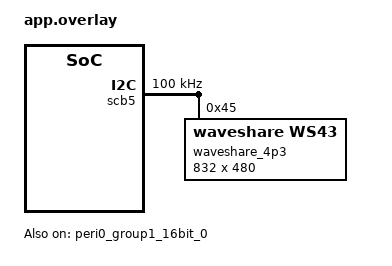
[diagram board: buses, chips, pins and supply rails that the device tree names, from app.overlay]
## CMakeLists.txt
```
cmake_minimum_required(VERSION 3.20.0)
find_package(Zephyr REQUIRED HINTS $ENV{ZEPHYR_BASE})
project(psoc_e84_lvgl_waveshare_4_3)

set(IFX_PDL ${ZEPHYR_HAL_INFINEON_MODULE_DIR}/mtb-dsl-pse8xxgp/pdl)
set(IFX_GFX ${IFX_PDL}/drivers/third_party/COMPONENT_GFXSS)

target_sources(app PRIVATE
  src/main.c
  src/waveshare_4p3_display.c
  ${IFX_PDL}/drivers/source/cy_mipidsi.c
  ${IFX_GFX}/cy_graphics.c
  ${IFX_GFX}/vsi/dcnano8000/DCUser/rtos/viv_dc_interface.c
  ${IFX_GFX}/vsi/dcnano8000/DCUser/rtos/viv_dc_os.c
  ${IFX_GFX}/vsi/dcnano8000/DCUser/viv_dc_setting.c
  ${IFX_GFX}/vsi/dcnano8000/DCUser/viv_dc_tools.c
  ${IFX_GFX}/vsi/dcnano8000/DCUser/viv_dc_util.c
  ${IFX_GFX}/vsi/dcnano8000/DCKernel/rtos/viv_dc_platform.c
  ${IFX_GFX}/vsi/dcnano8000/DCKernel/hardware/8000Nano/viv_dc_hardware.c
  ${IFX_GFX}/vsi/dcnano8000/DCKernel/viv_dc_core.c
  ${IFX_GFX}/vsi/dcnano8000/DCKernel/viv_dc_database.c
	${IFX_GFX}/vsi/dcnano8000/DCKernel/dc_layer_feature.c
  ${IFX_GFX}/vsi/dcnano8000/DCKernel/viv_dc_lcd.c
  ${IFX_GFX}/vsi/dcnano8000/DCKernel/viv_dc_shell.c)

zephyr_include_directories(
  ${IFX_PDL}/devices/include
  ${IFX_PDL}/devices/include/ip
  ${IFX_PDL}/drivers/include
  ${IFX_GFX}
  ${IFX_GFX}/vsi/dcnano8000/include
  ${IFX_GFX}/vsi/dcnano8000/DCKernel
  ${IFX_GFX}/vsi/dcnano8000/DCKernel/hardware/8000Nano
  ${IFX_GFX}/vsi/dcnano8000/DCKernel/rtos
  ${IFX_GFX}/vsi/dcnano8000/DCUser
  ${IFX_GFX}/vsi/dcnano8000/DCUser/rtos)

# The standalone PDL graphics sources are normally selected by ModusToolbox.
# Give them the same PSoC Edge device identity when Zephyr compiles them.
target_compile_definitions(app PRIVATE
  PSE846GPS2DBZC4A COMPONENT_55500 COMPONENT_55500A1 COMPONENT_CM55
  COMPONENT_CM55_0 COMPONENT_GFXSS COMPONENT_NON_SECURE_DEVICE _BAREMETAL=0)
target_compile_options(app PRIVATE -include cy_pdl.h)
```

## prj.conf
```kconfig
CONFIG_CONSOLE=y
CONFIG_UART_CONSOLE=y
CONFIG_PRINTK=y
CONFIG_I2C=y
CONFIG_DISPLAY=y
CONFIG_LVGL=y
CONFIG_LV_Z_AUTO_INIT=n
# Zephyr's LVGL allocator is separate from the kernel heap and LV_MEM_SIZE.
CONFIG_LV_Z_MEM_POOL_SIZE=65536
CONFIG_ASSERT=y
CONFIG_LV_COLOR_DEPTH_16=y
CONFIG_LV_Z_BUFFER_ALLOC_STATIC=y
CONFIG_LV_Z_VDB_ZEPHYR_REGION=y
CONFIG_LV_Z_VDB_ZEPHYR_REGION_NAME="GFX_MEM"
CONFIG_LV_Z_VDB_SIZE=100
CONFIG_LV_Z_FULL_REFRESH=y
CONFIG_LV_Z_VDB_ALIGN=128
CONFIG_LV_Z_DOUBLE_VDB=y
CONFIG_HEAP_MEM_POOL_SIZE=16384
CONFIG_MAIN_STACK_SIZE=4096
CONFIG_CRC=y
CONFIG_LV_FONT_MONTSERRAT_28=y
```

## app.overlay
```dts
/ {
	chosen {
		zephyr,display = &waveshare_4p3;
	};

	reserved-memory {
		#address-cells = <1>;
		#size-cells = <1>;
		ranges;

		gfx_mem: memory@26200000 {
			compatible = "zephyr,memory-region", "mmio-sram";
			zephyr,memory-region = "GFX_MEM";
			reg = <0x26200000 0x00300000>;
		};
	};
};

&p17_0_scb5_i2c_scl {
	drive-open-drain;
	input-enable;
};

&p17_1_scb5_i2c_sda {
	drive-open-drain;
	input-enable;
};

&peri0_group1_16bit_0 {
	status = "okay";
	clock-div = <32>;
};

&scb5 {
	compatible = "infineon,i2c";
	status = "okay";
	clocks = <&peri0_group1_16bit_0>;
	clock-frequency = <100000>;
	pinctrl-0 = <&p17_0_scb5_i2c_scl &p17_1_scb5_i2c_sda>;
	pinctrl-names = "default";
	#address-cells = <1>;
	#size-cells = <0>;

	waveshare_4p3: display@45 {
		compatible = "waveshare,ws43";
		reg = <0x45>;
		width = <832>;
		height = <480>;
		status = "okay";
	};
};
```

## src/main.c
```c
#include <zephyr/kernel.h>
#include <zephyr/init.h>
#include <cy_sysclk.h>
#include <zephyr/drivers/display.h>
#include <zephyr/drivers/uart.h>
#include <lvgl.h>
#include <lvgl_zephyr.h>
#include <stdio.h>
#include <string.h>
#include "waveshare_4p3_display.h"

static int display_clock_metadata_init(void)
{
	/* PDL keeps this frequency in each core's own RAM. Set the board's
	 * crystal frequency before peripheral drivers query an ECO-fed PLL. */
	Cy_SysClk_EcoSetFrequency(17203200U);
	return 0;
}
SYS_INIT(display_clock_metadata_init, PRE_KERNEL_1, 0);

static const struct device *display = DEVICE_DT_GET(DT_CHOSEN(zephyr_display));
static const char demo_text[] = "TESA AIoT E84\nWaveshare 4.3 RPi DSI\nLVGL / Zephyr";

static int report_status(const char *token)
{
	struct waveshare_status status;
	int ret = waveshare_get_status(display, &status);
	printk("%s DISPLAY STATUS token=%s panel=0x%02x clock=%u frames=%u flushes=%u "
	       "fb=0x%08x crc=0x%08x phy=0x%x dc=0x%x dsi0=0x%x dsi1=0x%x ret=%d\n",
	       ret == 0 ? "OK" : "FAIL", token, status.panel_id, status.clock_hz,
	       status.frames, status.flushes, status.framebuffer, status.crc,
	       status.phy, status.dc_errors, status.dsi_errors0, status.dsi_errors1, ret);
	return ret;
}

static void handle_command(char *line, lv_obj_t *label)
{
	char command[16], token[40], extra;
	if (sscanf(line, "display %15s %39s %c", command, token, &extra) != 2) {
		printk("FAIL DISPLAY COMMAND expected='display info|test|demo TOKEN'\n");
		return;
	}
	if (strcmp(command, "test") == 0) {
		lv_label_set_text_fmt(label, "TESA AIoT E84\nDisplay test\n%s", token);
	} else if (strcmp(command, "demo") == 0) {
		lv_label_set_text(label, demo_text);
	} else if (strcmp(command, "info") == 0) {
		(void)report_status(token);
		return;
	} else {
		printk("FAIL DISPLAY COMMAND token=%s\n", token);
		return;
	}
	lv_obj_invalidate(lv_screen_active());
	lv_refr_now(NULL);
	(void)report_status(token);
}

int main(void)
{
	const struct device *uart = DEVICE_DT_GET(DT_CHOSEN(zephyr_console));

	if (!device_is_ready(display)) {
		printk("FAIL DISPLAY device_not_ready\n");
		return 0;
	}
	int ret = lvgl_init();
	if (ret != 0 || lv_display_get_default() == NULL || lv_screen_active() == NULL) {
		printk("FAIL DISPLAY LVGL_INIT ret=%d\n", ret);
		return 0;
	}
	printk("OK DISPLAY LVGL_INIT heap=%u\n", CONFIG_LV_Z_MEM_POOL_SIZE);

	lv_obj_t *screen = lv_screen_active();
	lv_obj_set_style_bg_color(screen, lv_color_hex(0x102238), 0);
	lv_obj_t *label = lv_label_create(screen);
	if (label == NULL) {
		printk("FAIL DISPLAY LVGL_LABEL\n");
		return 0;
	}
	lv_label_set_text(label, demo_text);
	lv_obj_set_width(label, 800);
	lv_obj_set_style_text_align(label, LV_TEXT_ALIGN_CENTER, 0);
	lv_obj_set_style_text_color(label, lv_color_white(), 0);
	lv_obj_set_style_text_font(label, &lv_font_montserrat_28, 0);
	/* The rightmost 32 pixels of the 832-pixel timing are not visible. */
	lv_obj_align(label, LV_ALIGN_LEFT_MID, 0, 0);

	/* Submit the first rendered LVGL frame immediately. */
	lv_refr_now(NULL);
	ret = display_blanking_off(display);
	if (ret != 0) {
		printk("FAIL DISPLAY BACKLIGHT ret=%d\n", ret);
		return 0;
	}
	if (report_status("boot") == 0) {
		printk("OK DISPLAY INITIALIZATION_SUCCESS lvgl_frame_presented=1\n");
	}
	/* Keep diagnostics available even if the display health check failed. */
	printk("INFO DISPLAY COMMANDS display info|test|demo TOKEN\n");
	char line[96];
	size_t used = 0;
	bool overflow = false;
	while (true) {
		unsigned char ch;
		while (uart_poll_in(uart, &ch) == 0) {
			if (ch == '\r' || ch == '\n') {
				if (overflow) {
					printk("FAIL DISPLAY COMMAND too_long\n");
				} else if (used > 0) {
					line[used] = '\0';
					handle_command(line, label);
				}
				used = 0;
				overflow = false;
			} else if (used < sizeof(line) - 1) {
				line[used++] = ch;
			} else {
				overflow = true;
			}
		}
		lv_timer_handler();
		k_msleep(10);
	}
}
```

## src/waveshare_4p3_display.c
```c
#define DT_DRV_COMPAT waveshare_ws43

#include <zephyr/device.h>
#include <zephyr/cache.h>
#include <zephyr/drivers/display.h>
#include <zephyr/drivers/i2c.h>
#include <zephyr/irq.h>
#include <zephyr/kernel.h>
#include <zephyr/logging/log.h>
#include <zephyr/sys/crc.h>
#include "waveshare_4p3_display.h"

#include <cy_graphics.h>
#include <cy_sysclk.h>

LOG_MODULE_REGISTER(waveshare_4p3, LOG_LEVEL_INF);

#define PANEL_ID_REG 0x80U
#define PANEL_CTRL_REG 0x85U
#define PANEL_POWER_REG 0x81U
#define PANEL_BRIGHTNESS_REG 0x86U
#define PANEL_ID_A 0xC3U
#define PANEL_ID_B 0xDEU
#define STRIDE_PIXELS 832U
#define FRAMEBUFFER_PIXELS (STRIDE_PIXELS * 480U)

struct waveshare_config {
	struct i2c_dt_spec i2c;
};

struct waveshare_data {
	cy_stc_gfx_context_t gfx_context;
	bool ready;
	uint32_t flush_count;
	volatile uint32_t frame_count;
	volatile uint32_t dc_errors;
	uint32_t dsi_errors0;
	uint32_t dsi_errors1;
	const void *last_buffer;
	int last_error;
};

static struct waveshare_data waveshare_data;
static K_SEM_DEFINE(frame_done, 0, 2);

/*
 * The display controller raises this at the end of every scan-out.
 * Count actual frame completion, not reset/error interrupts, and wake the
 * thread waiting for a buffer swap. GCREGDISPLAYINTR is clear-on-read.
 */
static void waveshare_dc_irq_handler(const void *arg)
{
	ARG_UNUSED(arg);
	uint32_t status = GFXSS->GFXSS_DC.DCNANO.GCREGDISPLAYINTR;
	GFXSS->GFXSS_DC.MXDC.INTR = GFXSS->GFXSS_DC.MXDC.INTR;
	waveshare_data.dc_errors |= status & 0xA0001000U;
	if ((status & 1U) != 0U) {
		waveshare_data.frame_count++;
		k_sem_give(&frame_done);
	}
}

/*
 * A startup pattern is deliberately kept separate from the LVGL buffers.
 * It makes the DSI path observable before LVGL's first refresh and matches
 * the vendor example requirement that GFXSS starts with a valid buffer.
 */
static uint16_t startup_frame[FRAMEBUFFER_PIXELS]
	__attribute__((section("GFX_MEM"), aligned(128)));

static cy_stc_gfx_layer_config_t graphics_layer = {
	.layer_type = GFX_LAYER_GRAPHICS,
	.pos_x = 0,
	.pos_y = 0,
	.input_format_type = vivRGB565,
	.tiling_type = vivLINEAR,
	.width = STRIDE_PIXELS,
	.height = 480U,
	.zorder = 0,
	.layer_enable = true,
	.visibility = true,
};
static cy_stc_gfx_layer_config_t overlay0_layer = {
	.layer_type = GFX_LAYER_OVERLAY0,
	.input_format_type = vivRGB565,
	.tiling_type = vivLINEAR,
	.width = 1U,
	.height = 1U,
	.layer_enable = false,
	.visibility = false,
};
static cy_stc_gfx_layer_config_t overlay1_layer = {
	.layer_type = GFX_LAYER_OVERLAY1,
	.input_format_type = vivRGB565,
	.tiling_type = vivLINEAR,
	.width = 1U,
	.height = 1U,
	.layer_enable = false,
	.visibility = false,
};
static cy_stc_gfx_dc_config_t dc_config = {
	.gfx_layer_config = &graphics_layer,
	.ovl0_layer_config = &overlay0_layer,
	.ovl1_layer_config = &overlay1_layer,
	.display_type = GFX_DISP_TYPE_DSI_DPI,
	.display_format = vivD24,
	.display_size = vivDISPLAY_CUSTOMIZED,
	.display_width = STRIDE_PIXELS,
	.display_height = 480U,
};
static cy_stc_gfx_gpu_cfg_t gpu_config = { .enable = true };
static cy_stc_mipidsi_display_params_t dsi_params = {
	.pixel_clock = 33768U,
	.hdisplay = STRIDE_PIXELS,
	.hsync_width = 10U,
	.hfp = 210U,
	.hbp = 20U,
	.vdisplay = 480U,
	.vsync_width = 5U,
	.vfp = 20U,
	.vbp = 20U,
};
static cy_stc_mipidsi_config_t dsi_config = {
	.num_of_lanes = 1U,
	.per_lane_mbps = 810U,
	.dpi_fmt = CY_MIPIDSI_FMT_RGB888,
	.dsi_mode = DSI_VIDEO_MODE,
	.max_phy_clk = 2500000000UL,
	.mode_flags = VID_MODE_TYPE_BURST | ENABLE_LOW_POWER_CMD | ENABLE_LOW_POWER,
	.display_params = &dsi_params,
};
static cy_stc_gfx_config_t gfx_config = {
	.dc_cfg = &dc_config,
	.gpu_cfg = &gpu_config,
	.mipi_dsi_cfg = &dsi_config,
	.display_update_type = GFX_DOUBLE_BUFFER,
	.clockHz = 399999999U,
};

static int panel_write(const struct i2c_dt_spec *i2c, uint8_t reg, uint8_t value)
{
	uint8_t data[] = { reg, value };
	return i2c_write_dt(i2c, data, sizeof(data));
}

static int panel_read(const struct i2c_dt_spec *i2c, uint8_t reg, uint8_t *value)
{
	int ret = i2c_write_dt(i2c, &reg, sizeof(reg));
	if (ret != 0) return ret;
	return i2c_read_dt(i2c, value, sizeof(*value));
}

static int panel_init(const struct i2c_dt_spec *i2c)
{
	uint8_t reg = PANEL_ID_REG;
	uint8_t id = 0U;
	int ret;

	k_msleep(100);
	ret = i2c_write_dt(i2c, &reg, sizeof(reg));
	if (ret != 0) return ret;
	ret = i2c_read_dt(i2c, &id, sizeof(id));
	if (ret != 0) return ret;
	if (id != PANEL_ID_A && id != PANEL_ID_B) return -ENODEV;
	printk("OK DISPLAY MODULE_I2C_OK panel_id=0x%02x\n", id);

	ret = panel_write(i2c, PANEL_CTRL_REG, 0U);
	if (ret != 0) return ret;
	k_msleep(100);
	ret = panel_write(i2c, PANEL_CTRL_REG, 1U);
	if (ret != 0) return ret;
	k_msleep(100);
	ret = panel_write(i2c, PANEL_POWER_REG, 4U);
	if (ret != 0) return ret;
	k_msleep(100);
	ret = panel_write(i2c, PANEL_BRIGHTNESS_REG, 255U);
	if (ret != 0) return ret;
	k_msleep(100);
	return 0;
}

static int present_frame(struct waveshare_data *data, const void *buf)
{
	int ret = sys_cache_data_flush_range((void *)buf, sizeof(startup_frame));
	if (ret != 0) return ret;
	unsigned int key = irq_lock();
	k_sem_reset(&frame_done);
	Cy_GFXSS_Clear_DC_Interrupt(GFXSS, &data->gfx_context);
	cy_en_gfx_status_t result = Cy_GFXSS_Set_FrameBuffer(
		GFXSS, (uint32_t *)buf, &data->gfx_context);
	irq_unlock(key);
	if (result != CY_GFX_SUCCESS) return -EIO;
	/* The first boundary latches the new address; wait another frame before
	 * LVGL can reuse the old buffer. Both waits have a bounded timeout.
	 */
	for (int i = 0; i < 2; i++) {
		if (k_sem_take(&frame_done, K_MSEC(100)) != 0) return -ETIMEDOUT;
	}
	if (GFXSS->GFXSS_DC.DCNANO.GCREGFRAMEBUFFERADDRESS != (uint32_t)buf) {
		return -EIO;
	}
	data->last_buffer = buf;
	return 0;
}

static void startup_frame_fill(void)
{
	for (uint32_t y = 0U; y < 480U; ++y) {
		for (uint32_t x = 0U; x < STRIDE_PIXELS; ++x) {
			/* Four highly visible RGB565 bars, with a white border. */
			uint16_t color = (x < 208U) ? 0xF800U :
					 (x < 416U) ? 0x07E0U :
					 (x < 624U) ? 0x001FU : 0xFFE0U;
			if (x < 8U || x >= (STRIDE_PIXELS - 8U) || y < 8U || y >= 472U) {
				color = 0xFFFFU;
			}
			startup_frame[y * STRIDE_PIXELS + x] = color;
		}
	}
}

static int waveshare_write(const struct device *dev, uint16_t x, uint16_t y,
			   const struct display_buffer_descriptor *desc, const void *buf)
{
	struct waveshare_data *data = dev->data;

	if (!data->ready || buf == NULL || x != 0U || y != 0U ||
	    desc->width != STRIDE_PIXELS || desc->height != 480U ||
	    desc->pitch != STRIDE_PIXELS || desc->buf_size < sizeof(startup_frame) ||
	    ((uintptr_t)buf % 128U) != 0U) {
		printk("FAIL DISPLAY LVGL_WRITE x=%u y=%u width=%u height=%u\n",
		       x, y, desc->width, desc->height);
		data->last_error = -EINVAL;
		return data->last_error;
	}
	data->last_error = present_frame(data, buf);
	if (data->last_error != 0) {
		printk("FAIL DISPLAY PRESENT ret=%d\n", data->last_error);
		return data->last_error;
	}
	data->flush_count++;
	if (data->flush_count == 1U) {
		printk("OK DISPLAY LVGL_FLUSH=1\n");
	}
	return 0;
}

static void waveshare_capabilities(const struct device *dev, struct display_capabilities *caps)
{
	ARG_UNUSED(dev);
	*caps = (struct display_capabilities) {
		.x_resolution = STRIDE_PIXELS,
		.y_resolution = 480U,
		.supported_pixel_formats = PIXEL_FORMAT_RGB_565,
		.current_pixel_format = PIXEL_FORMAT_RGB_565,
		.current_orientation = DISPLAY_ORIENTATION_NORMAL,
	};
}

static int waveshare_brightness(const struct device *dev, uint8_t brightness)
{
	const struct waveshare_config *config = dev->config;
	/* Zephyr's brightness API is 0..255, not a percentage. */
	return panel_write(&config->i2c, PANEL_BRIGHTNESS_REG, brightness);
}

static int waveshare_blanking_off(const struct device *dev)
{
	return waveshare_brightness(dev, UINT8_MAX);
}

static int waveshare_blanking_on(const struct device *dev)
{
	return waveshare_brightness(dev, 0);
}

int waveshare_get_status(const struct device *dev, struct waveshare_status *status)
{
	struct waveshare_data *data = dev->data;
	const struct waveshare_config *config = dev->config;
	*status = (struct waveshare_status){0};
	int ret = panel_read(&config->i2c, PANEL_ID_REG, &status->panel_id);
	if (ret != 0) return ret;
	data->dsi_errors0 |= GFXSS->GFXSS_MIPIDSI.DWCMIPIDSI.INT_ST0;
	data->dsi_errors1 |= GFXSS->GFXSS_MIPIDSI.DWCMIPIDSI.INT_ST1;
	status->frames = data->frame_count;
	status->flushes = data->flush_count;
	status->dc_errors = data->dc_errors;
	status->dsi_errors0 = data->dsi_errors0;
	status->dsi_errors1 = data->dsi_errors1;
	status->phy = GFXSS->GFXSS_MIPIDSI.DWCMIPIDSI.PHY_STATUS;
	status->clock_hz = Cy_SysClk_ClkHfGetFrequency(CY_MMIO_GFXSS_DC_CLK_HF_NR) /
		(Cy_SysClk_PeriGroupGetDivider(PERI_1_GROUP_3) + 1U);
	status->framebuffer = GFXSS->GFXSS_DC.DCNANO.GCREGFRAMEBUFFERADDRESS;
	status->last_error = data->last_error;
	if (data->last_buffer != NULL) {
		status->crc = crc32_ieee(data->last_buffer, sizeof(startup_frame));
	}
	if (!data->ready || data->last_error != 0 || status->frames < 2 ||
	    status->flushes == 0 || status->dc_errors != 0 ||
	    status->dsi_errors0 != 0 || status->dsi_errors1 != 0 ||
	    (status->phy & 1U) == 0 ||
	    (status->clock_hz != 99999999U && status->clock_hz != 100000000U) ||
	    status->framebuffer != (uint32_t)data->last_buffer ||
	    (status->panel_id != PANEL_ID_A && status->panel_id != PANEL_ID_B)) {
		return -EIO;
	}
	return 0;
}

static int waveshare_init(const struct device *dev)
{
	const struct waveshare_config *config = dev->config;
	struct waveshare_data *data = dev->data;
	cy_en_gfx_status_t status;
	int ret;

	if (!i2c_is_ready_dt(&config->i2c)) return -ENODEV;
	/* GFXSS uses the 400 MHz HF1 parent, but its peripheral/DSI reference
	 * clock must be 100 MHz, as in the vendor BSP's peripheral clocks.
	 * PeriGroupSlaveInit only releases reset/enables the IP; it does not
	 * configure this divider (the register stores divisor minus one).
	 */
	if (Cy_SysClk_PeriGroupSetDivider(PERI_1_GROUP_3, 3U) != CY_SYSCLK_SUCCESS) {
		return -EIO;
	}
	printk("INFO DISPLAY CLOCK dc=%u dsi=%u gpu=%u\n",
	       Cy_SysClk_ClkHfGetFrequency(CY_MMIO_GFXSS_DC_CLK_HF_NR),
	       Cy_SysClk_ClkHfGetFrequency(CY_MMIO_GFXSS_MIPIDSI_CLK_HF_NR),
	       Cy_SysClk_ClkHfGetFrequency(CY_MMIO_GFXSS_GPU_CLK_HF_NR));
	/*
	 * GFXSS is a separately clock-gated peripheral group on PSE84.  The
	 * generated ModusToolbox project enables these three slaves before the
	 * display stack touches their registers; Zephyr has no GFXSS clock
	 * binding yet, so do that equivalent setup in this custom driver.
	 */
	Cy_SysClk_PeriGroupSlaveInit(CY_MMIO_GFXSS_GPU_PERI_NR,
				    CY_MMIO_GFXSS_GPU_GROUP_NR,
				    CY_MMIO_GFXSS_GPU_SLAVE_NR,
				    CY_MMIO_GFXSS_GPU_CLK_HF_NR);
	Cy_SysClk_PeriGroupSlaveInit(CY_MMIO_GFXSS_DC_PERI_NR,
				    CY_MMIO_GFXSS_DC_GROUP_NR,
				    CY_MMIO_GFXSS_DC_SLAVE_NR,
				    CY_MMIO_GFXSS_DC_CLK_HF_NR);
	Cy_SysClk_PeriGroupSlaveInit(CY_MMIO_GFXSS_MIPIDSI_PERI_NR,
				    CY_MMIO_GFXSS_MIPIDSI_GROUP_NR,
				    CY_MMIO_GFXSS_MIPIDSI_SLAVE_NR,
				    CY_MMIO_GFXSS_MIPIDSI_CLK_HF_NR);
	startup_frame_fill();
	sys_cache_data_flush_range(startup_frame, sizeof(startup_frame));
	graphics_layer.buffer_address = (gctADDRESS *)startup_frame;
	graphics_layer.uv_buffer_address = (gctADDRESS *)startup_frame;
	status = Cy_GFXSS_Init(GFXSS, &gfx_config, &data->gfx_context);
	if (status != CY_GFX_SUCCESS) return -EIO;
	Cy_GFXSS_Clear_DC_Interrupt(GFXSS, &data->gfx_context);
	IRQ_CONNECT(gfxss_interrupt_dc_IRQn, 3, waveshare_dc_irq_handler, NULL, 0);
	irq_enable(gfxss_interrupt_dc_IRQn);
	printk("OK DISPLAY MODULE_GFXSS_OK startup_pattern=RGBY\n");
	ret = panel_init(&config->i2c);
	if (ret != 0) return ret;
	ret = present_frame(data, startup_frame);
	if (ret != 0) {
		printk("FAIL DISPLAY STARTUP_FRAME ret=%d\n", ret);
		return ret;
	}
	/* Discard startup status while the video pipeline was being enabled.
	 * All later errors are retained in the diagnostic status.
	 */
	(void)GFXSS->GFXSS_MIPIDSI.DWCMIPIDSI.INT_ST0;
	(void)GFXSS->GFXSS_MIPIDSI.DWCMIPIDSI.INT_ST1;
	data->ready = true;
	k_msleep(100);
	printk("INFO DISPLAY SCANOUT frames=%u phy=0x%x dsi_errors=0x%x,0x%x\n",
	       data->frame_count, GFXSS->GFXSS_MIPIDSI.DWCMIPIDSI.PHY_STATUS,
	       GFXSS->GFXSS_MIPIDSI.DWCMIPIDSI.INT_ST0,
	       GFXSS->GFXSS_MIPIDSI.DWCMIPIDSI.INT_ST1);
	printk("OK DISPLAY MODULE_READY width=800 height=480 stride=%u\n", STRIDE_PIXELS);
	LOG_INF("Waveshare 4.3 panel ready: 800x480, stride %u", STRIDE_PIXELS);
	return 0;
}

static DEVICE_API(display, waveshare_api) = {
	.write = waveshare_write,
	.get_capabilities = waveshare_capabilities,
	.set_brightness = waveshare_brightness,
	.blanking_on = waveshare_blanking_on,
	.blanking_off = waveshare_blanking_off,
};

static const struct waveshare_config waveshare_config = {
	.i2c = I2C_DT_SPEC_INST_GET(0),
};

DEVICE_DT_INST_DEFINE(0, waveshare_init, NULL, &waveshare_data, &waveshare_config,
		      POST_KERNEL, CONFIG_DISPLAY_INIT_PRIORITY, &waveshare_api);
```

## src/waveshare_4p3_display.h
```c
#ifndef WAVESHARE_4P3_DISPLAY_H
#define WAVESHARE_4P3_DISPLAY_H

#include <zephyr/device.h>
#include <stdint.h>

struct waveshare_status {
	uint32_t frames;
	uint32_t flushes;
	uint32_t framebuffer;
	uint32_t crc;
	uint32_t dc_errors;
	uint32_t dsi_errors0;
	uint32_t dsi_errors1;
	uint32_t phy;
	uint32_t clock_hz;
	uint8_t panel_id;
	int last_error;
};

int waveshare_get_status(const struct device *dev, struct waveshare_status *status);

#endif
```
